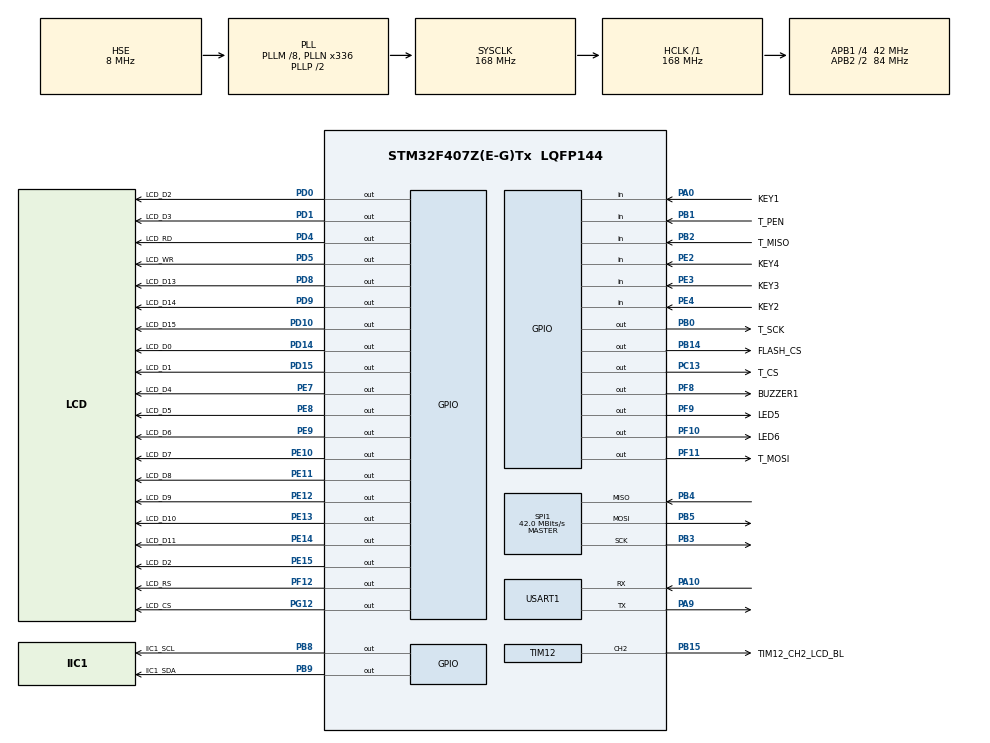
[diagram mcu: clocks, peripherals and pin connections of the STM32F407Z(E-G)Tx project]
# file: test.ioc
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IWDG.Prescaler=IWDG_PRESCALER_256
IWDG.Reload=125
Mcu.Family=STM32F4
Mcu.Name=STM32F407Z(E-G)Tx
Mcu.Package=LQFP144
NVIC.PriorityGroup=NVIC_PRIORITYGROUP_4
NVIC.RTC_Alarm_IRQn=true\:0\:0\:false\:false\:true
NVIC.RTC_WKUP_IRQn=true\:0\:0\:false\:false\:true
NVIC.TIM6_DAC_IRQn=true\:0\:0\:false\:false\:true
NVIC.TIM7_IRQn=true\:0\:0\:false\:false\:true
NVIC.USART1_IRQn=true\:0\:0\:false\:false\:true
PA0-WKUP.GPIO_Label=KEY1
PA0-WKUP.Signal=GPIO_Input
PA10.GPIO_Speed=GPIO_SPEED_FREQ_LOW
PA10.Mode=Asynchronous
PA10.Signal=USART1_RX
PA9.GPIO_Speed=GPIO_SPEED_FREQ_LOW
PA9.Mode=Asynchronous
PA9.Signal=USART1_TX
PB0.GPIO_Label=T_SCK
PB0.Signal=GPIO_Output
PB1.GPIO_Label=T_PEN
PB1.Signal=GPIO_Input
PB14.GPIO_Label=FLASH_CS
PB14.GPIO_Speed=GPIO_SPEED_FREQ_VERY_HIGH
PB14.Signal=GPIO_Output
PB15.GPIO_Label=TIM12_CH2_LCD_BL
PB15.Signal=S_TIM12_CH2
PB2.GPIO_Label=T_MISO
PB2.Signal=GPIO_Input
PB3.Mode=Full_Duplex_Master
PB3.Signal=SPI1_SCK
PB4.Mode=Full_Duplex_Master
PB4.Signal=SPI1_MISO
PB5.Mode=Full_Duplex_Master
PB5.Signal=SPI1_MOSI
PB8.GPIO_Label=IIC1_SCL
PB8.GPIO_ModeDefaultOutputPP=GPIO_MODE_OUTPUT_OD
PB8.PinState=GPIO_PIN_SET
PB8.Signal=GPIO_Output
PB9.GPIO_Label=IIC1_SDA
PB9.GPIO_ModeDefaultOutputPP=GPIO_MODE_OUTPUT_OD
PB9.PinState=GPIO_PIN_SET
PB9.Signal=GPIO_Output
PC13-ANTI_TAMP.GPIO_Label=T_CS
PC13-ANTI_TAMP.PinState=GPIO_PIN_SET
PC13-ANTI_TAMP.Signal=GPIO_Output
PC14-OSC32_IN.Mode=LSE-External-Oscillator
PC14-OSC32_IN.Signal=RCC_OSC32_IN
PC15-OSC32_OUT.Mode=LSE-External-Oscillator
PC15-OSC32_OUT.Signal=RCC_OSC32_OUT
PD0.GPIO_Label=LCD_D2
PD0.GPIO_Speed=GPIO_SPEED_FREQ_VERY_HIGH
PD0.Signal=GPIO_Output
PD1.GPIO_Label=LCD_D3
PD1.GPIO_Speed=GPIO_SPEED_FREQ_VERY_HIGH
PD1.Signal=GPIO_Output
PD10.GPIO_Label=LCD_D15
PD10.GPIO_Speed=GPIO_SPEED_FREQ_VERY_HIGH
PD10.Signal=GPIO_Output
PD14.GPIO_Label=LCD_D0
PD14.GPIO_Speed=GPIO_SPEED_FREQ_VERY_HIGH
PD14.Signal=GPIO_Output
PD15.GPIO_Label=LCD_D1
PD15.GPIO_Speed=GPIO_SPEED_FREQ_VERY_HIGH
PD15.Signal=GPIO_Output
PD4.GPIO_Label=LCD_RD
PD4.GPIO_Speed=GPIO_SPEED_FREQ_VERY_HIGH
PD4.Signal=GPIO_Output
PD5.GPIO_Label=LCD_WR
PD5.GPIO_Speed=GPIO_SPEED_FREQ_VERY_HIGH
PD5.Signal=GPIO_Output
PD8.GPIO_Label=LCD_D13
PD8.GPIO_Speed=GPIO_SPEED_FREQ_VERY_HIGH
PD8.Signal=GPIO_Output
PD9.GPIO_Label=LCD_D14
PD9.GPIO_Speed=GPIO_SPEED_FREQ_VERY_HIGH
PD9.Signal=GPIO_Output
PE10.GPIO_Label=LCD_D7
PE10.GPIO_Speed=GPIO_SPEED_FREQ_VERY_HIGH
PE10.Signal=GPIO_Output
PE11.GPIO_Label=LCD_D8
PE11.GPIO_Speed=GPIO_SPEED_FREQ_VERY_HIGH
PE11.Signal=GPIO_Output
PE12.GPIO_Label=LCD_D9
PE12.GPIO_Speed=GPIO_SPEED_FREQ_VERY_HIGH
PE12.Signal=GPIO_Output
PE13.GPIO_Label=LCD_D10
PE13.GPIO_Speed=GPIO_SPEED_FREQ_VERY_HIGH
PE13.Signal=GPIO_Output
PE14.GPIO_Label=LCD_D11
PE14.GPIO_Speed=GPIO_SPEED_FREQ_VERY_HIGH
PE14.Signal=GPIO_Output
PE15.GPIO_Label=LCD_D2
PE15.GPIO_Speed=GPIO_SPEED_FREQ_VERY_HIGH
PE15.Signal=GPIO_Output
PE2.GPIO_Label=KEY4
PE2.Signal=GPIO_Input
PE3.GPIO_Label=KEY3
PE3.Signal=GPIO_Input
PE4.GPIO_Label=KEY2
PE4.Signal=GPIO_Input
PE7.GPIO_Label=LCD_D4
PE7.GPIO_Speed=GPIO_SPEED_FREQ_VERY_HIGH
PE7.Signal=GPIO_Output
PE8.GPIO_Label=LCD_D5
PE8.GPIO_Speed=GPIO_SPEED_FREQ_VERY_HIGH
PE8.Signal=GPIO_Output
PE9.GPIO_Label=LCD_D6
PE9.GPIO_Speed=GPIO_SPEED_FREQ_VERY_HIGH
PE9.Signal=GPIO_Output
PF10.GPIO_Label=LED6
PF10.PinState=GPIO_PIN_SET
PF10.Signal=GPIO_Output
PF11.GPIO_Label=T_MOSI
PF11.Signal=GPIO_Output
PF12.GPIO_Label=LCD_RS
PF12.GPIO_Speed=GPIO_SPEED_FREQ_VERY_HIGH
PF12.Signal=GPIO_Output
PF8.GPIO_Label=BUZZER1
PF8.PinState=GPIO_PIN_RESET
PF8.Signal=GPIO_Output
PF9.GPIO_Label=LED5
PF9.PinState=GPIO_PIN_SET
PF9.Signal=GPIO_Output
PG12.GPIO_Label=LCD_CS
PG12.GPIO_Speed=GPIO_SPEED_FREQ_VERY_HIGH
PG12.Signal=GPIO_Output
PH0-OSC_IN.Mode=HSE-External-Oscillator
PH0-OSC_IN.Signal=RCC_OSC_IN
PH1-OSC_OUT.Mode=HSE-External-Oscillator
PH1-OSC_OUT.Signal=RCC_OSC_OUT
ProjectManager.HeapSize=0x200
ProjectManager.StackSize=0x400
ProjectManager.TargetToolchain=MDK-ARM V5
RCC.48MHZClocksFreq_Value=84000000
RCC.AHBFreq_Value=168000000
RCC.APB1CLKDivider=RCC_HCLK_DIV4
RCC.APB1Freq_Value=42000000
RCC.APB1TimFreq_Value=84000000
RCC.APB2CLKDivider=RCC_HCLK_DIV2
RCC.APB2Freq_Value=84000000
RCC.APB2TimFreq_Value=168000000
RCC.CortexFreq_Value=21000000
RCC.Cortex_Div=SYSTICK_CLKSOURCE_HCLK_DIV8
RCC.FLatency=FLASH_LATENCY_5
RCC.HCLKFreq_Value=168000000
RCC.HSE_VALUE=8000000
RCC.HSI_VALUE=16000000
RCC.PLLM=8
RCC.PLLN=336
RCC.PLLSourceVirtual=RCC_PLLSOURCE_HSE
RCC.RCC_RTC_Clock_Source=RCC_RTCCLKSOURCE_LSE
RCC.RCC_RTC_Clock_SourceVirtual=RCC_RTCCLKSOURCE_LSE
RCC.SYSCLKFreq_VALUE=168000000
RCC.SYSCLKSource=RCC_SYSCLKSOURCE_PLLCLK
RCC.VCOOutputFreq_Value=336000000
RTC.AlarmDateWeekDaySel=RTC_ALARMDATEWEEKDAYSEL_DATE
RTC.Date=18
RTC.Hours=10
RTC.Hours_A=10
RTC.Minutes=55
RTC.Minutes_A=58
RTC.Month=RTC_MONTH_DECEMBER
RTC.WakeUpClock=RTC_WAKEUPCLOCK_CK_SPRE_16BITS
RTC.WeekDay=RTC_WEEKDAY_SUNDAY
RTC.Year=16
SH.S_TIM12_CH2.0=TIM12_CH2,PWM Generation2 CH2
SPI1.BaudRatePrescaler=SPI_BAUDRATEPRESCALER_2
SPI1.CRCCalculation=SPI_CRCCALCULATION_DISABLE
SPI1.CalculateBaudRate=42.0 MBits/s
SPI1.Mode=SPI_MODE_MASTER
TIM12.Channel-PWM\ Generation2\ CH2=TIM_CHANNEL_2
TIM12.Period=999
TIM12.Prescaler=83
TIM12.Pulse-PWM\ Generation2\ CH2=500
TIM6.Period=99
TIM6.Prescaler=8399
TIM6.TIM_MasterOutputTrigger=TIM_TRGO_RESET
TIM7.Period=10000
TIM7.Prescaler=8399
VP_IWDG_VS_IWDG.Mode=IWDG_Activate
VP_RTC_VS_RTC_Activate.Mode=RTC_Enabled
VP_RTC_VS_RTC_Alarm_A_Intern.Mode=Alarm A
VP_RTC_VS_RTC_Calendar.Mode=RTC_Calendar
VP_RTC_VS_RTC_WakeUp_intern.Mode=WakeUp
VP_TIM12_VS_ClockSourceINT.Mode=Internal
VP_TIM6_VS_ClockSourceINT.Mode=Enable_Timer
VP_TIM7_VS_ClockSourceINT.Mode=Enable_Timer
board=test

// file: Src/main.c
/**
  ******************************************************************************
  * File Name          : main.c
  * Description        : Main program body
  ******************************************************************************
  *
  * COPYRIGHT(c) 2017 STMicroelectronics
  *
  * Redistribution and use in source and binary forms, with or without modification,
  * are permitted provided that the following conditions are met:
  *   1. Redistributions of source code must retain the above copyright notice,
  *      this list of conditions and the following disclaimer.
  *   2. Redistributions in binary form must reproduce the above copyright notice,
  *      this list of conditions and the following disclaimer in the documentation
  *      and/or other materials provided with the distribution.
  *   3. Neither the name of STMicroelectronics nor the names of its contributors
  *      may be used to endorse or promote products derived from this software
  *      without specific prior written permission.
  *
  * THIS SOFTWARE IS PROVIDED BY THE COPYRIGHT HOLDERS AND CONTRIBUTORS "AS IS"
  * AND ANY EXPRESS OR IMPLIED WARRANTIES, INCLUDING, BUT NOT LIMITED TO, THE
  * IMPLIED WARRANTIES OF MERCHANTABILITY AND FITNESS FOR A PARTICULAR PURPOSE ARE
  * DISCLAIMED. IN NO EVENT SHALL THE COPYRIGHT HOLDER OR CONTRIBUTORS BE LIABLE
  * FOR ANY DIRECT, INDIRECT, INCIDENTAL, SPECIAL, EXEMPLARY, OR CONSEQUENTIAL
  * DAMAGES (INCLUDING, BUT NOT LIMITED TO, PROCUREMENT OF SUBSTITUTE GOODS OR
  * SERVICES; LOSS OF USE, DATA, OR PROFITS; OR BUSINESS INTERRUPTION) HOWEVER
  * CAUSED AND ON ANY THEORY OF LIABILITY, WHETHER IN CONTRACT, STRICT LIABILITY,
  * OR TORT (INCLUDING NEGLIGENCE OR OTHERWISE) ARISING IN ANY WAY OUT OF THE USE
  * OF THIS SOFTWARE, EVEN IF ADVISED OF THE POSSIBILITY OF SUCH DAMAGE.
  *
  ******************************************************************************
  */
#include "main.h"
#include "stm32f4xx_hal.h"
#include "iwdg.h"
#include "rtc.h"
#include "spi.h"
#include "tim.h"
#include "usart.h"
#include "gpio.h"

/* USER CODE BEGIN Includes */
/*****************************************************************************
@File name:
@Description:
	- 增加PWM输出功能, 通过PWM占空比控制LCD背光亮度
	- 增加基本定时器功能, TIM6用来检测按键(三次检测去抖), TIM7用来定时开关LED灯和Buzzer
		TIM12预留, 后续用来输出PWM波
	- 加入模拟方式IIC通讯功能,操作AT24C02 EEPROM, 将校准数据保存到AT24C02
	- 加上触摸屏功能, 按下触摸屏,通过串口打印xy的坐标值
	- 加入RTC实时时钟功能,将时间显示到LCD屏上
	- 控制ILI9341驱动的2.8寸显示屏，在屏幕上显示ascii字符和汉字(数组方式存储).
	- spi读取W25Q64的id信息, 通过串口打印出来
	- uart1用中断方式接收数据,再发回给pc
@Hardware:
	LED_BL(PB15)----TIM12_CH2
	TOUCH PANEL:
		T_SCK(PB0)----普通功能推挽输出
		T_PEN(PB1)----普通输入,无上下拉
		T_CS(PC13)----普通功能推挽输出
		T_MISO(PB2)----普通输入,无上下拉
		T_MOSI(PF11)----普通功能推挽输出
	AT24C04 IIC:
		SCL(pb8) SDA(pb9)-----普通功能开漏输出

@Author: Harry Wu
@Version: V1.0
@Date: 2017-1-1
@History:
    V1.0: 参考ex12-3 定时器产生PWM控制背光亮度\工程
*****************************************************************************/
#include "MyTypeDef.h"
#include "key.h"
#include "led.h"
#include "usart.h"
#include "flash.h"
#include "stdio.h"
#include "string.h"
#include "lcd.h"
#include "delay.h"
#include "touch.h"
/* USER CODE END Includes */

/* USER CODE BEGIN PV */
/* Private variables ---------------------------------------------------------*/

/* USER CODE END PV */

void SystemClock_Config(void);
void Error_Handler(void);

/* USER CODE BEGIN PFP */
/* Private function prototypes -----------------------------------------------*/

/* USER CODE END PFP */

int main(void)
{

  /* USER CODE BEGIN 1 */
	u8 key_r = NO_KEY;  //临时保存key的值
	u16 times=0;
	u8 *p="hello world!!! Harry\r\n";
	u8 buf[100];

	u8 t;
	u8 tbuf[40];
	_TOUCH_COOR_TYPEDEF touch_add;
//	u8 len;  //获取接收到的字节数
//	#define USART_REC_LEN  			200  	//定义最大接收字节数 200
//	u8 rec_data_buf[USART_REC_LEN];
	//u8 buff[10];
	//硬件初始化
  /* USER CODE END 1 */

  /* MCU Configuration----------------------------------------------------------*/

  /* Reset of all peripherals, Initializes the Flash interface and the Systick. */
  HAL_Init();

  /* Configure the system clock */
  SystemClock_Config();

  /* Initialize all configured peripherals */
  MX_GPIO_Init();
  MX_USART1_UART_Init();
  MX_SPI1_Init();
  MX_RTC_Init();
  //MX_IWDG_Init();
  MX_TIM6_Init();
  MX_TIM7_Init();
  MX_TIM12_Init();

  /* USER CODE BEGIN 2 */
	HAL_TIM_PWM_Start(&htim12, TIM_CHANNEL_2);
	delay_init(21);  //确定systime timer的时钟,单位MHz

	__HAL_SPI_ENABLE(&hspi1);

  HAL_UART_Receive_IT(&huart1, (u8 *)aRxBuffer, RXBUFFERSIZE);

  SPI_Flash_Init();
	lcd_init();

	touch_init();

  SPI_Flash_Write((u8 *)p,0x100,strlen(p)+1);
  SPI_Flash_Read(buf,0x100,strlen(p)+1);

	MX_IWDG_Init();

	Draw_Circle(120,160,100);
	LCD_DrawLine(0,0,239,319);
	LCD_DrawRectangle(10,10,60,60);
	LCD_DrawSolidRectangle(10, 10, 230, 60, RED);
	Draw_SolidCircle(120,160,50);

	show_ascii(100, 10, 's', 1);
	HAL_Delay(100);
	show_ascii(108, 10, 'o', 1);
	HAL_Delay(100);
	show_ascii(116, 10, 'l', 1);
	HAL_Delay(100);
	show_ascii(124, 10, 'v', 1);
	HAL_Delay(100);
	show_ascii(132, 10, 'e', 1);
	HAL_IWDG_Refresh(&hiwdg);
	show_ascii(100, 30, 'L', 0);
	HAL_Delay(100);
	show_ascii(108, 30, 'O', 0);
	HAL_Delay(100);
	show_ascii(116, 30, 'V', 0);
	HAL_Delay(100);
	show_ascii(124, 30, 'E', 0);
	HAL_Delay(100);
	show_ascii(132, 30, '!', 0);
	HAL_IWDG_Refresh(&hiwdg);
	HAL_Delay(500);
	HAL_IWDG_Refresh(&hiwdg);
	BACK_COLOR = GREEN;
	LCD_ShowString(80,160,"hello, how are you?",0);

	LCD_Show_CH(80, 160+16, 0, 0);
	LCD_Show_CH(80+16, 160+16, 1, 0);
	LCD_Show_CH(80+32, 160+16, 2, 0);
	HAL_Delay(500);
	LCD_ShowPic(0, 0, (u8 *)gImage_Betty2014);
	LCD_DrawSolidRectangle(50, 50,100,100,RED);

	printf("0x%x\r\n",SPI_FLASH_TYPE);
	printf("%s",buf);
	//HAL_Delay(500);

	HAL_TIM_Base_Start_IT(&htim6);
	HAL_TIM_Base_Start_IT(&htim7);
  /* USER CODE END 2 */

  /* Infinite loop */
  /* USER CODE BEGIN WHILE */
  while (1)
  {
		if(key!=NO_KEY)//如果有按键按下
		{
			key_r=key; //用key_r临时保存key的值，然后可以马上把key值初始化为NO_KEY
			key=NO_KEY;
			if(key_r==KEY1_OK)
			{
				LED6=!LED6;
				BUZZER1 = !BUZZER1;
			}
			else if(key_r==KEY2_OK)
			{
				if(TIM12->CCR2<900)
				{
					TIM12->CCR2 += 200;
				}
				else
				{
					TIM12->CCR2=200;
				}
			}
		}

		if(t!=RTC_TimeStruct.Seconds)
		{
			t=RTC_TimeStruct.Seconds;
			//RTC_Get_Time(&hour,&min,&sec,&ampm);
			//sprintf((char*)tbuf,"Time:%02d:%02d:%02d",time_date.hour,time_date.min,time_date.sec);
			sprintf((char*)tbuf,"Time:%02d:%02d:%02d",RTC_TimeStruct.Hours,RTC_TimeStruct.Minutes,RTC_TimeStruct.Seconds);
			LCD_ShowString(30,140,tbuf,0);
			//RTC_Get_Date(&year,&month,&date,&week);
			//sprintf((char*)tbuf,"Date:20%02d-%02d-%02d",time_date.year,time_date.month,time_date.date);
			sprintf((char*)tbuf,"Date:20%02d-%02d-%02d",RTC_DateStruct.Year,RTC_DateStruct.Month,RTC_DateStruct.Date);
			LCD_ShowString(30,160,tbuf,0);
			//sprintf((char*)tbuf,"Week:%d",time_date.week);
			sprintf((char*)tbuf,"Week:%d",RTC_DateStruct.WeekDay);
			LCD_ShowString(30,180,tbuf,0);

			sprintf((char*)tbuf,"AlarmA:%02d:%02d:%02d",RTC_AlarmStruct.AlarmTime.Hours,RTC_AlarmStruct.AlarmTime.Minutes,RTC_AlarmStruct.AlarmTime.Seconds);
			LCD_ShowString(30,200,tbuf,0);
			sprintf((char*)tbuf,"Week/Day:%d",RTC_AlarmStruct.AlarmDateWeekDay);
			LCD_ShowString(30,220,tbuf,0);

		}
		HAL_IWDG_Refresh(&hiwdg);

    if(USART_RX_STA&(0x01<<15))  //如果接收完成
		{
	//			len=USART_RX_STA&0x3fff;//得到此次接收到的数据长度
	//			printf("\r\n您发送的消息为:\r\n");
	//			HAL_UART_Transmit(&huart1,rec_data_buf,len,1000);	//发送接收到的数据
	//			while(__HAL_UART_GET_FLAG(&huart1,UART_FLAG_TC)!=SET);		//等待发送结束
	//			printf("\r\n\r\n");//插入换行
	//			USART_RX_STA=0;
		}
	//如果接收没完成,接收完成了时候需要发送数据会上位机,所以下面的任务在没完成时处理比较好
		else
		{
			times++;  //time++很慢，后面都基本很长时间才能看到
			if(times%100==0)
			{
				printf("\r\n等的牙都长了\r\n");
				//printf("正点原子@ALIENTEK\r\n\r\n\r\n");
			}
			if(times%4==0)printf("请输入数据,以回车键结束\r\n");
			//if(times%2==0)LED5=!LED5;//闪烁LED,提示系统正在运行.
			HAL_Delay(500);
		}
	//delay_ms(500); //1s以内需喂狗,如果加上这个延时whil(1)循环就会超过1s,从而导致喂狗不及时

	//触幕屏按键开关指示灯
	touch_scanf(&touch_add, 0);
	if(touch_add.x>50 &&touch_add.x<100 &&touch_add.y>50 &&touch_add.y<100 )
	{
		LED6=!LED6;
		if(LED6)  //如果灯是灭的
		{
			LCD_DrawSolidRectangle(50, 50,100,100,RED);
		}
		else
		{
			LCD_DrawSolidRectangle(50, 50,100,100,GREEN);
		}
	}

	//以下为绘图程序
	CNV_touch2lcd(&touch_add);
	if(touch_add.x!=0xffff)
	{
		LCD_DrawPoint(touch_add.x,touch_add.y);
		LCD_DrawPoint(touch_add.x+1,touch_add.y);
		LCD_DrawPoint(touch_add.x,touch_add.y+1);
		LCD_DrawPoint(touch_add.x+1,touch_add.y+1);
		printf("x = %4d y = %4d\r\n", touch_add.x, touch_add.y);
	}

  /* USER CODE END WHILE */

  }

}

/** System Clock Configuration
*/
void SystemClock_Config(void)
{

  RCC_OscInitTypeDef RCC_OscInitStruct;
  RCC_ClkInitTypeDef RCC_ClkInitStruct;
  RCC_PeriphCLKInitTypeDef PeriphClkInitStruct;

    /**Configure the main internal regulator output voltage
    */
  __HAL_RCC_PWR_CLK_ENABLE();

  __HAL_PWR_VOLTAGESCALING_CONFIG(PWR_REGULATOR_VOLTAGE_SCALE1);

    /**Initializes the CPU, AHB and APB busses clocks
    */
  RCC_OscInitStruct.OscillatorType = RCC_OSCILLATORTYPE_LSI|RCC_OSCILLATORTYPE_HSE
                              |RCC_OSCILLATORTYPE_LSE;
  RCC_OscInitStruct.HSEState = RCC_HSE_ON;
  RCC_OscInitStruct.LSEState = RCC_LSE_ON;
  RCC_OscInitStruct.LSIState = RCC_LSI_ON;
  RCC_OscInitStruct.PLL.PLLState = RCC_PLL_ON;
  RCC_OscInitStruct.PLL.PLLSource = RCC_PLLSOURCE_HSE;
  RCC_OscInitStruct.PLL.PLLM = 8;
  RCC_OscInitStruct.PLL.PLLN = 336;
  RCC_OscInitStruct.PLL.PLLP = RCC_PLLP_DIV2;
  RCC_OscInitStruct.PLL.PLLQ = 4;
  if (HAL_RCC_OscConfig(&RCC_OscInitStruct) != HAL_OK)
  {
    Error_Handler();
  }

    /**Initializes the CPU, AHB and APB busses clocks
    */
  RCC_ClkInitStruct.ClockType = RCC_CLOCKTYPE_HCLK|RCC_CLOCKTYPE_SYSCLK
                              |RCC_CLOCKTYPE_PCLK1|RCC_CLOCKTYPE_PCLK2;
  RCC_ClkInitStruct.SYSCLKSource = RCC_SYSCLKSOURCE_PLLCLK;
  RCC_ClkInitStruct.AHBCLKDivider = RCC_SYSCLK_DIV1;
  RCC_ClkInitStruct.APB1CLKDivider = RCC_HCLK_DIV4;
  RCC_ClkInitStruct.APB2CLKDivider = RCC_HCLK_DIV2;

  if (HAL_RCC_ClockConfig(&RCC_ClkInitStruct, FLASH_LATENCY_5) != HAL_OK)
  {
    Error_Handler();
  }

  PeriphClkInitStruct.PeriphClockSelection = RCC_PERIPHCLK_RTC;
  PeriphClkInitStruct.RTCClockSelection = RCC_RTCCLKSOURCE_LSE;
  if (HAL_RCCEx_PeriphCLKConfig(&PeriphClkInitStruct) != HAL_OK)
  {
    Error_Handler();
  }

    /**Configure the Systick interrupt time
    */
  HAL_SYSTICK_Config(HAL_RCC_GetHCLKFreq()/8000);

    /**Configure the Systick
    */
  HAL_SYSTICK_CLKSourceConfig(SYSTICK_CLKSOURCE_HCLK_DIV8);

  /* SysTick_IRQn interrupt configuration */
  HAL_NVIC_SetPriority(SysTick_IRQn, 0, 0);
}

void Error_Handler(void)
{
  while(1)
  {
  }
}

/************************ (C) COPYRIGHT STMicroelectronics *****END OF FILE****/
